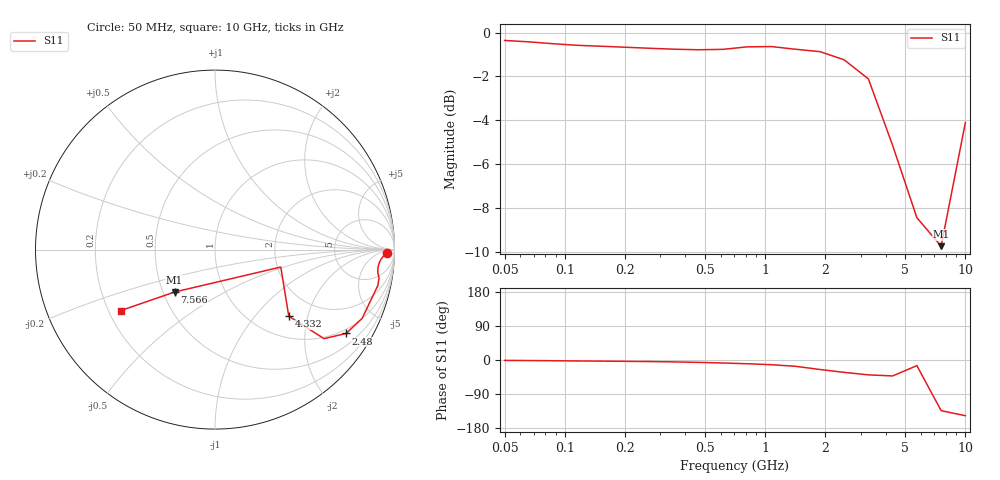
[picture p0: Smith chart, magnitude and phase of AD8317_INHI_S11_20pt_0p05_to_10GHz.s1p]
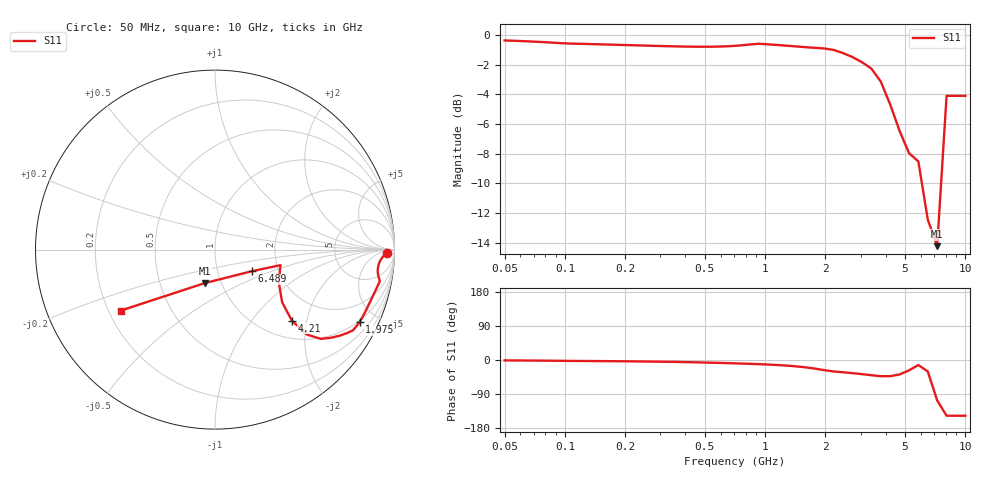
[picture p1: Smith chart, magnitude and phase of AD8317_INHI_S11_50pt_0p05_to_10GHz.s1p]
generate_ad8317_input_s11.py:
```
"""Generate AD8317 input S11 Touchstone files from datasheet anchors.

Model notes:
- Pages 3-4 provide INHI input impedance points as parallel R||C at key frequencies.
- Page 9 (Figure 15) provides de-embedded Smith chart trajectory with no INHI termination.
- INLO is RF common and AC-coupled to ground, so this is a single-ended S11 model at INHI.
"""

from __future__ import annotations

from pathlib import Path

import numpy as np


def z_from_parallel_rc(freq_ghz: float, r_ohm: float, c_f: float) -> complex:
    omega = 2.0 * np.pi * freq_ghz * 1e9
    admittance = (1.0 / r_ohm) + 1j * omega * c_f
    return 1.0 / admittance


def build_anchor_data() -> tuple[np.ndarray, np.ndarray]:
    # Frequency anchors in GHz.
    freqs = np.array([0.05, 0.10, 0.90, 1.90, 2.20, 3.60, 5.80, 8.00], dtype=float)

    # Figure 15 approximations at low/high ends (50 MHz, 100 MHz, 10 GHz).
    approx_z = {
        0.05: 2000.0 - 900.0j,
        0.10: 1100.0 - 700.0j,
    }

    # Datasheet pages 3-4: INHI input impedance in parallel R||C.
    datasheet_parallel_rc = {
        0.90: (1500.0, 0.33e-12),
        1.90: (950.0, 0.38e-12),
        2.20: (810.0, 0.39e-12),
        3.60: (300.0, 0.33e-12),
        5.80: (110.0, 0.05e-12),
        8.00: (28.0, 0.79e-12),
    }

    z_list: list[complex] = []
    for freq in freqs:
        if float(freq) in approx_z:
            z_list.append(approx_z[float(freq)])
        else:
            r_ohm, c_f = datasheet_parallel_rc[float(freq)]
            z_list.append(z_from_parallel_rc(float(freq), r_ohm, c_f))

    return freqs, np.array(z_list, dtype=complex)


def interpolate_impedance(freqs_ghz: np.ndarray, anchor_freqs_ghz: np.ndarray, anchor_z: np.ndarray) -> np.ndarray:
    x_anchor = np.log10(anchor_freqs_ghz)
    x_eval = np.log10(freqs_ghz)
    z_real = np.interp(x_eval, x_anchor, anchor_z.real)
    z_imag = np.interp(x_eval, x_anchor, anchor_z.imag)
    return z_real + 1j * z_imag


def z_to_s11(z: np.ndarray, z0: float = 50.0) -> np.ndarray:
    return (z - z0) / (z + z0)


def combined_gamma_fit(freqs_ghz: np.ndarray, use_rc_at_5p8: bool) -> np.ndarray:
    """Fit one S11 trajectory from numeric impedance and Smith-chart data."""
    rc_freqs = np.array([0.90, 1.90, 2.20, 3.60, 5.80, 8.00], dtype=float)
    rc_r = np.array([1500.0, 950.0, 810.0, 300.0, 110.0, 28.0])
    rc_c = np.array([0.33, 0.38, 0.39, 0.33, 0.05, 0.79]) * 1e-12
    rc_gamma = z_to_s11(1.0 / (1.0 / rc_r + 1j * 2.0 * np.pi * rc_freqs * 1e9 * rc_c))

    chart_freqs = np.array([0.05, 0.10, 0.90, 1.90, 2.20, 3.60, 5.80, 8.00, 10.00])
    chart_gamma = np.array([
        0.992 + 0.000j,
        0.985 - 0.020j,
        0.955 - 0.150j,
        0.900 - 0.300j,
        0.845 - 0.370j,
        0.690 - 0.500j,
        0.020 - 0.780j,
        -0.580 - 0.380j,
        -0.180 - 0.860j,
    ], dtype=complex)

    rc_by_freq = dict(zip(rc_freqs, rc_gamma))
    fit_gamma = []
    for freq, chart_value in zip(chart_freqs, chart_gamma):
        if freq in (0.05, 0.10, 10.00):
            value = chart_value
        elif freq == 5.80:
            value = rc_by_freq[freq] if use_rc_at_5p8 else chart_value
        else:
            # Numeric datasheet values are weighted more heavily; the chart
            # supplies the broader trajectory between measured anchors.
            value = 0.75 * rc_by_freq[freq] + 0.25 * chart_value
        fit_gamma.append(value)

    x_anchor = np.log10(chart_freqs)
    x_eval = np.log10(freqs_ghz)
    gamma = np.interp(x_eval, x_anchor, np.real(fit_gamma))
    gamma = gamma + 1j * np.interp(x_eval, x_anchor, np.imag(fit_gamma))
    magnitude = np.abs(gamma)
    over = magnitude >= 0.999
    gamma[over] = gamma[over] / magnitude[over] * 0.999
    return gamma


def write_s1p(path: Path, freqs_ghz: np.ndarray, s11: np.ndarray) -> None:
    with path.open("w", encoding="ascii", newline="\n") as f:
        f.write("! AD8317 INHI/INLO input model, 0.05-10 GHz\n")
        f.write("! Sources: AD8317 Rev.D pp.3-4 impedance table + p.9 Figure 15 approximation\n")
        f.write("! INLO is RF common (AC-coupled to ground), modeled implicitly in single-ended S11 at INHI.\n")
        f.write("# GHZ S RI R 50\n")
        for freq, gamma in zip(freqs_ghz, s11):
            f.write(f"{freq:0.6f} {gamma.real: .8f} {gamma.imag: .8f}\n")

def interpolate_gamma_strict_smith_fit(freqs_ghz: np.ndarray) -> np.ndarray:
    """Stricter fit to the page-9 Smith chart trajectory.

    These anchors follow the labeled frequency points on Figure 15
    (100, 900, 1900, 2200, 3600, 5800, 8000, 10000 MHz), plus 50 MHz start.
    The fit is performed directly in the complex reflection coefficient plane.
    """

    # Frequency anchors in GHz.
    f_anchor = np.array([0.05, 0.10, 0.90, 1.90, 2.20, 3.60, 5.80, 8.00, 10.00], dtype=float)

    # Approximate de-embedded Gamma points read from Figure 15 trajectory.
    g_anchor = np.array(
        [
            0.992 + 0.000j,  # 50 MHz start, near open
            0.985 - 0.020j,  # 100 MHz
            0.955 - 0.150j,  # 900 MHz
            0.900 - 0.300j,  # 1900 MHz
            0.845 - 0.370j,  # 2200 MHz
            0.690 - 0.500j,  # 3600 MHz
            0.020 - 0.780j,  # 5800 MHz
            -0.580 - 0.380j, # 8000 MHz
            -0.180 - 0.860j, # 10000 MHz
        ],
        dtype=complex,
    )

    # Log-frequency interpolation in complex plane to preserve trajectory shape.
    x_anchor = np.log10(f_anchor)
    x_eval = np.log10(freqs_ghz)
    g_real = np.interp(x_eval, x_anchor, g_anchor.real)
    g_imag = np.interp(x_eval, x_anchor, g_anchor.imag)
    gamma = g_real + 1j * g_imag

    # Keep points strictly inside the unit circle for passive stability.
    mag = np.abs(gamma)
    over = mag >= 0.999
    if np.any(over):
        gamma[over] = gamma[over] / mag[over] * 0.999

    return gamma


def main() -> None:
    anchor_freqs_ghz, anchor_z = build_anchor_data()

    f20 = np.logspace(np.log10(0.05), np.log10(10.0), 20)
    z20 = interpolate_impedance(f20, anchor_freqs_ghz, anchor_z)
    s20 = z_to_s11(z20)

    f50 = np.logspace(np.log10(0.05), np.log10(10.0), 50)
    z50 = interpolate_impedance(f50, anchor_freqs_ghz, anchor_z)
    s50 = z_to_s11(z50)

    out_dir = Path(__file__).resolve().parent
    write_s1p(out_dir / "AD8317_INHI_S11_20pt_0p05_to_10GHz.s1p", f20, s20)
    write_s1p(out_dir / "AD8317_INHI_S11_50pt_0p05_to_10GHz.s1p", f50, s50)

    # Stricter curve-fit set from page-9 Smith chart trajectory.
    s20_strict = interpolate_gamma_strict_smith_fit(f20)
    s50_strict = interpolate_gamma_strict_smith_fit(f50)
    write_s1p(out_dir / "AD8317_INHI_S11_20pt_0p05_to_10GHz_strict_smithfit.s1p", f20, s20_strict)
    write_s1p(out_dir / "AD8317_INHI_S11_50pt_0p05_to_10GHz_strict_smithfit.s1p", f50, s50_strict)

    # Combined fit: generate both interpretations of the conflicting 5.8 GHz point.
    combined_rc58 = combined_gamma_fit(f50, use_rc_at_5p8=True)
    combined_gamma58 = combined_gamma_fit(f50, use_rc_at_5p8=False)
    write_s1p(out_dir / "AD8317_INHI_S11_50pt_combined_RC_at_5p8.s1p", f50, combined_rc58)
    write_s1p(out_dir / "AD8317_INHI_S11_50pt_combined_Gamma_at_5p8.s1p", f50, combined_gamma58)

    print("Generated:")
    print("- AD8317_INHI_S11_20pt_0p05_to_10GHz.s1p")
    print("- AD8317_INHI_S11_50pt_0p05_to_10GHz.s1p")
    print("- AD8317_INHI_S11_20pt_0p05_to_10GHz_strict_smithfit.s1p")
    print("- AD8317_INHI_S11_50pt_0p05_to_10GHz_strict_smithfit.s1p")
    print("- AD8317_INHI_S11_50pt_combined_RC_at_5p8.s1p")
    print("- AD8317_INHI_S11_50pt_combined_Gamma_at_5p8.s1p")


if __name__ == "__main__":
    main()
```
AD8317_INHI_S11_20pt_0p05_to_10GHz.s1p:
! AD8317 INHI/INLO input model, 0.05-10 GHz
! Sources: AD8317 Rev.D pp.3-4 impedance table + p.9 Figure 15 approximation
! INLO is RF common (AC-coupled to ground), modeled implicitly in single-ended S11 at INHI.
# GHZ S RI R 50
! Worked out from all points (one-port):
!   20 points, 50 MHz to 10 GHz, reference 50 ohm
!   lowest |S11| = -9.7 dB at 7.566 GHz (marker M1), VSWR 1.97, Z = 28.7 - j15.2 ohm
!   |S11| at or under -10 dB: nowhere
!   S11 on the Smith chart (normalised r, x): 50 MHz: 40, -18; 2.48 GHz: 0.85, -3.21; 4.332 GHz: 1.43, -1.53; 7.566 GHz: 0.57, -0.30; 10 GHz: 0.25, -0.28
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0.05  0.9591 -0.018
0.201606  0.924 -0.056
0.352142  0.9127 -0.0808
0.61508  0.907 -0.1256
0.812902  0.9138 -0.1593
1.074349  0.9074 -0.1997
1.419882  0.8776 -0.2626
1.876545  0.8196 -0.3832
2.480081  0.7303 -0.4672
3.277726  0.6076 -0.4961
4.33191  0.4111 -0.371
5.725143  0.3665 -0.0972
7.566467  -0.2254 -0.2365
10  -0.5239 -0.3393
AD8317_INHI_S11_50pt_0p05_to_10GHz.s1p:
! AD8317 INHI/INLO input model, 0.05-10 GHz
! Sources: AD8317 Rev.D pp.3-4 impedance table + p.9 Figure 15 approximation
! INLO is RF common (AC-coupled to ground), modeled implicitly in single-ended S11 at INHI.
# GHZ S RI R 50
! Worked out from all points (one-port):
!   50 points, 50 MHz to 10 GHz, reference 50 ohm
!   lowest |S11| = -14.2 dB at 7.23 GHz (marker M1), VSWR 1.48, Z = 41.9 - j16.2 ohm
!   |S11| at or under -10 dB: 6.076 GHz to 7.574 GHz (1.499 GHz wide, 22 % of centre)
!   S11 on the Smith chart (normalised r, x): 50 MHz: 40, -18; 1.975 GHz: 0.93, -4.01; 4.21 GHz: 1.36, -1.64; 6.489 GHz: 1.46, -0.37; 10 GHz: 0.25, -0.28
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0.05  0.9591 -0.018
0.314258  0.915 -0.0745
1.032391  0.9105 -0.1931
1.772733  0.8355 -0.3504
1.975164  0.8052 -0.4052
3.39158  0.5892 -0.4973
3.778869  0.5124 -0.4735
4.210383  0.4288 -0.3961
5.226864  0.3558 -0.1837
5.823727  0.3649 -0.0867
6.488747  0.2066 -0.1201
7.229706  -0.0556 -0.1863
8.055276  -0.5239 -0.3393
10  -0.5239 -0.3393
